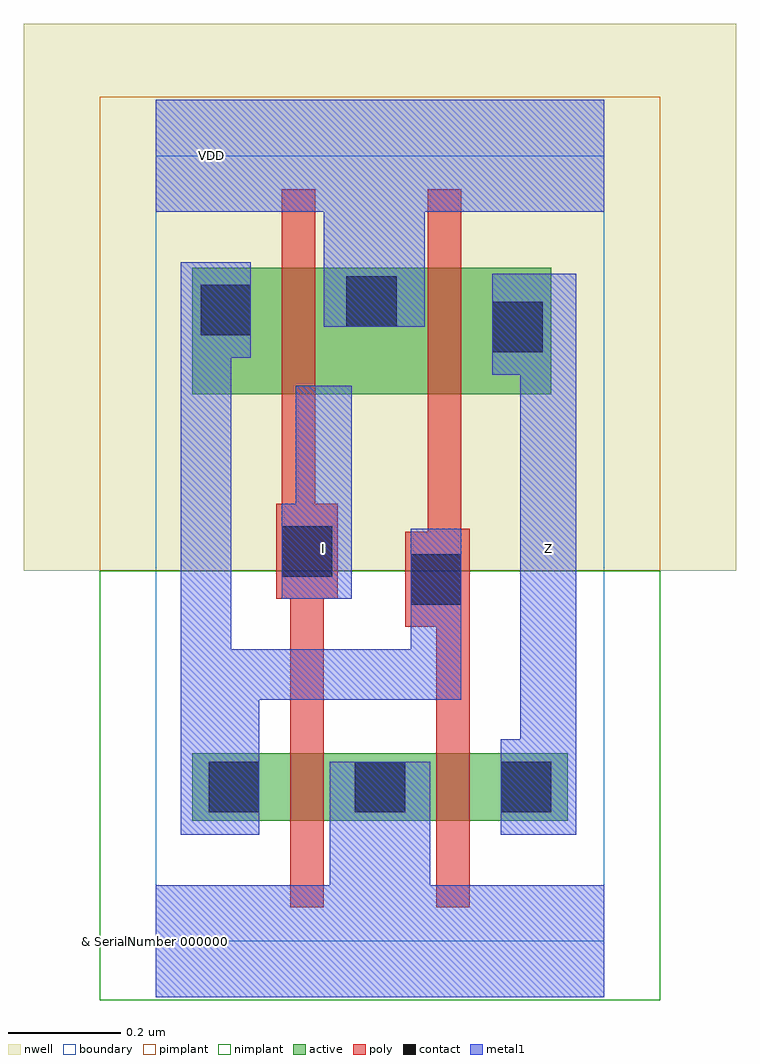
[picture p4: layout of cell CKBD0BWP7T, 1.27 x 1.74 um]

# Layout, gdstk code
import gdstk
lib = gdstk.Library(unit=1e-6, precision=1e-09)
def R(c, l, rs):  # rectangles x0, y0, x1, y1
    for r in rs: c.add(gdstk.rectangle(r[:2], r[2:], *l))
def A(c, l, x, y, w, h, nx, ny, dx, dy):  # array of equal rectangles
    R(c, l, [(x+i*dx, y+j*dy, x+i*dx+w, y+j*dy+h) for i in range(nx) for j in range(ny)])
def P(c, l, *ps):  # polygons
    for p in ps: c.add(gdstk.Polygon(p, *l))
nwell = (3, 0)
active = (6, 0)
poly = (17, 0)
pimplant = (25, 0)
nimplant = (26, 0)
contact = (30, 0)
metal1 = (31, 0)
boundary = (108, 0)

ckbd0bwp7t = lib.new_cell('CKBD0BWP7T')
R(ckbd0bwp7t, nwell, [(-0.235,0.66,1.035,1.635)])
R(ckbd0bwp7t, active, [(0.065,0.215,0.735,0.335), (0.065,0.975,0.705,1.2)])
P(ckbd0bwp7t, poly, [(0.5,0.06),(0.5,0.56),(0.445,0.56),(0.445,0.73),(0.485,0.73),(0.485,1.34),(0.545,1.34),(0.545,0.735),(0.56,0.735),(0.56,0.06)],
  [(0.24,0.06),(0.24,0.61),(0.215,0.61),(0.215,0.78),(0.225,0.78),(0.225,1.34),(0.285,1.34),(0.285,0.78),(0.325,0.78),(0.325,0.61),(0.3,0.61),(0.3,0.06)])
R(ckbd0bwp7t, pimplant, [(-0.1,0.66,0.9,1.505)])
R(ckbd0bwp7t, nimplant, [(-0.1,-0.105,0.9,0.66)])
A(ckbd0bwp7t, contact, 0.095, 0.23, 0.09, 0.09, 3, 1, 0.26, 0)
R(ckbd0bwp7t, contact, [(0.455,0.6,0.545,0.69), (0.225,0.65,0.315,0.74), (0.6,1.05,0.69,1.14), (0.08,1.08,0.17,1.17), (0.34,1.095,0.43,1.185)])
P(ckbd0bwp7t, metal1, [(0,-0.1),(0,0.1),(0.31,0.1),(0.31,0.32),(0.49,0.32),(0.49,0.1),(0.8,0.1),(0.8,-0.1)],
  [(0.3,1.095),(0.3,1.3),(0,1.3),(0,1.5),(0.8,1.5),(0.8,1.3),(0.48,1.3),(0.48,1.095)],
  [(0.615,0.19),(0.615,0.36),(0.65,0.36),(0.65,1.01),(0.6,1.01),(0.6,1.19),(0.75,1.19),(0.75,0.19)],
  [(0.045,0.19),(0.045,1.21),(0.17,1.21),(0.17,1.04),(0.135,1.04),(0.135,0.52),(0.455,0.52),(0.455,0.735),(0.545,0.735),(0.545,0.43),(0.185,0.43),(0.185,0.19)],
  [(0.225,0.61),(0.225,0.78),(0.25,0.78),(0.25,0.99),(0.35,0.99),(0.35,0.61)])
R(ckbd0bwp7t, boundary, [(0,0,0.8,1.4)])
ckbd0bwp7t.add(gdstk.Label('& SerialNumber 000000', (0,0), layer=63, texttype=63))
ckbd0bwp7t.add(gdstk.Label('& Distributor TSMC', (0,0), layer=63, texttype=63))
ckbd0bwp7t.add(gdstk.Label('& Metric 1.120', (0,0), layer=63, texttype=63))
ckbd0bwp7t.add(gdstk.Label('& _Instance_tag CKBD0BWP7T', (0,0), layer=63, texttype=63))
ckbd0bwp7t.add(gdstk.Label('& Version 141a', (0,0), layer=63, texttype=63))
ckbd0bwp7t.add(gdstk.Label('& Product tcbn65lpbwp7t', (0,0), layer=63, texttype=63))
ckbd0bwp7t.add(gdstk.Label('& Vendor Taiwan Semiconductor Manufacturing Corp.', (0,0), layer=63, texttype=63))
ckbd0bwp7t.add(gdstk.Label('& SerialNumber 000000', (0,0), layer=6, texttype=0))
ckbd0bwp7t.add(gdstk.Label('& Distributor TSMC', (0,0), layer=6, texttype=0))
ckbd0bwp7t.add(gdstk.Label('& Metric 1.120', (0,0), layer=6, texttype=0))
ckbd0bwp7t.add(gdstk.Label('& _Instance_tag CKBD0BWP7T', (0,0), layer=6, texttype=0))
ckbd0bwp7t.add(gdstk.Label('& Version 141a', (0,0), layer=6, texttype=0))
ckbd0bwp7t.add(gdstk.Label('& Product tcbn65lpbwp7t', (0,0), layer=6, texttype=0))
ckbd0bwp7t.add(gdstk.Label('& Vendor Taiwan Semiconductor Manufacturing Corp.', (0,0), layer=6, texttype=0))
ckbd0bwp7t.add(gdstk.Label('CKBD0BWP7T', (0,0), layer=127, texttype=0))
ckbd0bwp7t.add(gdstk.Label('Z', (0.7,0.7), layer=131, texttype=0))
ckbd0bwp7t.add(gdstk.Label('I', (0.3,0.7), layer=131, texttype=0))
ckbd0bwp7t.add(gdstk.Label('VDD', (0.1,1.4), layer=131, texttype=0))
ckbd0bwp7t.add(gdstk.Label('VSS', (0.1,0), layer=131, texttype=0))

lib.write_gds('CKBD0BWP7T.gds')
